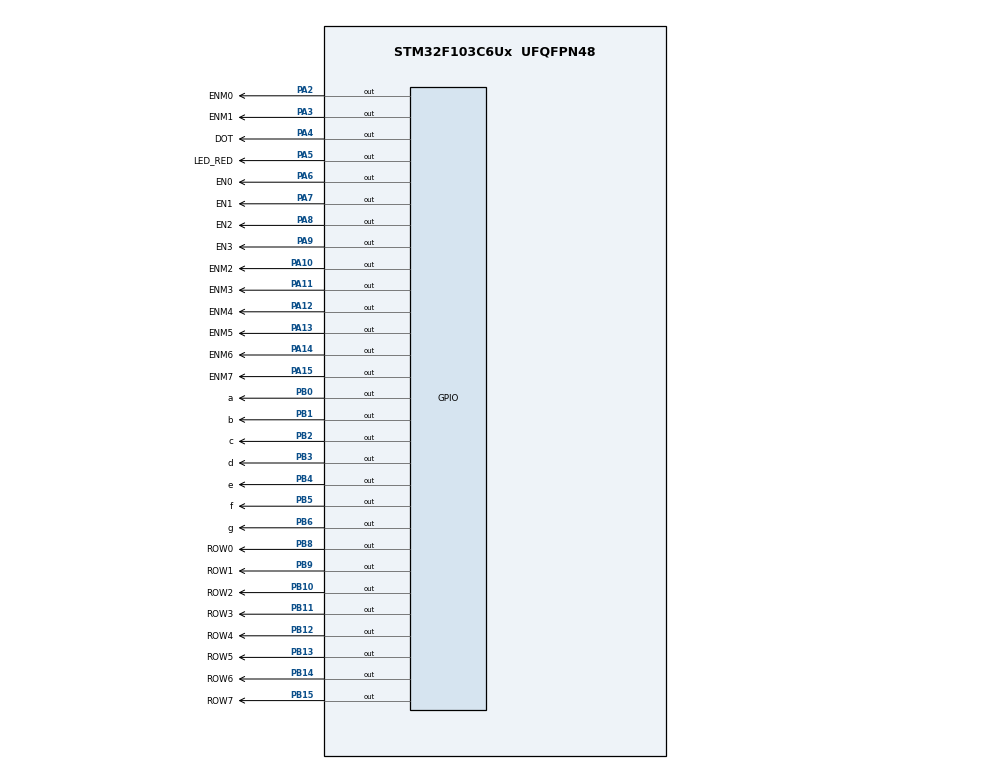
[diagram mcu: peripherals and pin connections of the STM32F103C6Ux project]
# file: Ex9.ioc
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Mcu.Family=STM32F1
Mcu.Name=STM32F103C6Ux
Mcu.Package=UFQFPN48
NVIC.PriorityGroup=NVIC_PRIORITYGROUP_4
NVIC.TIM2_IRQn=true\:0\:0\:false\:false\:true\:true\:true
PA10.GPIO_Label=ENM2
PA10.Signal=GPIO_Output
PA11.GPIO_Label=ENM3
PA11.Signal=GPIO_Output
PA12.GPIO_Label=ENM4
PA12.Signal=GPIO_Output
PA13.GPIO_Label=ENM5
PA13.Signal=GPIO_Output
PA14.GPIO_Label=ENM6
PA14.Signal=GPIO_Output
PA15.GPIO_Label=ENM7
PA15.Signal=GPIO_Output
PA2.GPIO_Label=ENM0
PA2.Signal=GPIO_Output
PA3.GPIO_Label=ENM1
PA3.Signal=GPIO_Output
PA4.GPIO_Label=DOT
PA4.Signal=GPIO_Output
PA5.GPIO_Label=LED_RED
PA5.Signal=GPIO_Output
PA6.GPIO_Label=EN0
PA6.Signal=GPIO_Output
PA7.GPIO_Label=EN1
PA7.Signal=GPIO_Output
PA8.GPIO_Label=EN2
PA8.Signal=GPIO_Output
PA9.GPIO_Label=EN3
PA9.Signal=GPIO_Output
PB0.GPIO_Label=a
PB0.Signal=GPIO_Output
PB1.GPIO_Label=b
PB1.Signal=GPIO_Output
PB10.GPIO_Label=ROW2
PB10.Signal=GPIO_Output
PB11.GPIO_Label=ROW3
PB11.Signal=GPIO_Output
PB12.GPIO_Label=ROW4
PB12.Signal=GPIO_Output
PB13.GPIO_Label=ROW5
PB13.Signal=GPIO_Output
PB14.GPIO_Label=ROW6
PB14.Signal=GPIO_Output
PB15.GPIO_Label=ROW7
PB15.Signal=GPIO_Output
PB2.GPIO_Label=c
PB2.Signal=GPIO_Output
PB3.GPIO_Label=d
PB3.Signal=GPIO_Output
PB4.GPIO_Label=e
PB4.Signal=GPIO_Output
PB5.GPIO_Label=f
PB5.Signal=GPIO_Output
PB6.GPIO_Label=g
PB6.Signal=GPIO_Output
PB8.GPIO_Label=ROW0
PB8.Signal=GPIO_Output
PB9.GPIO_Label=ROW1
PB9.Signal=GPIO_Output
ProjectManager.HeapSize=0x200
ProjectManager.StackSize=0x400
ProjectManager.TargetToolchain=STM32CubeIDE
RCC.APB1Freq_Value=8000000
RCC.APB2Freq_Value=8000000
TIM2.Period=9
TIM2.Prescaler=7999
VP_SYS_VS_ND.Mode=No_Debug
VP_TIM2_VS_ClockSourceINT.Mode=Internal
board=custom

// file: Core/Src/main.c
/* USER CODE BEGIN Header */
/**
  ******************************************************************************
  * @file           : main.c
  * @brief          : Main program body
  ******************************************************************************
  * @attention
  *
  * <h2><center>&copy; Copyright (c) 2026 STMicroelectronics.
  * All rights reserved.</center></h2>
  *
  * This software component is licensed by ST under BSD 3-Clause license,
  * the "License"; You may not use this file except in compliance with the
  * License. You may obtain a copy of the License at:
  *                        opensource.org/licenses/BSD-3-Clause
  *
  ******************************************************************************
  */
/* USER CODE END Header */
#include "main.h"

TIM_HandleTypeDef htim2;

void SystemClock_Config(void);
static void MX_GPIO_Init(void);
static void MX_TIM2_Init(void);

/* USER CODE BEGIN 0 */
int hour = 15, minute = 8, second = 50;
int timer0_counter=0;
int timer1_counter=0;
int timer0_flag=0;
int timer1_flag=0;

int TIME_CYCLE=10;
const int MAX_LED = 4;
int index_led = 0;
int led_buffer[4] = {1, 2, 3, 4};

//Ex9
int timer2_counter = 0;
int timer2_flag = 0;

//Ex10
int timer3_counter = 0;
int timer3_flag = 0;

void display7SEG(int num) {
  	  //array
        static uint8_t seg7[10][7] = {
          // a  b  c  d  e  f  g
            {0, 0, 0, 0, 0, 0, 1}, // 0
            {1, 0, 0, 1, 1, 1, 1}, // 1
            {0, 0, 1, 0, 0, 1, 0}, // 2
            {0, 0, 0, 0, 1, 1, 0}, // 3
            {1, 0, 0, 1, 1, 0, 0}, // 4
            {0, 1, 0, 0, 1, 0, 0}, // 5
            {0, 1, 0, 0, 0, 0, 0}, // 6
            {0, 0, 0, 1, 1, 1, 1}, // 7
            {0, 0, 0, 0, 0, 0, 0}, // 8
            {0, 0, 0, 0, 1, 0, 0}  // 9
        };

        HAL_GPIO_WritePin(GPIOB, a_Pin, seg7[num][0]); // a
        HAL_GPIO_WritePin(GPIOB, b_Pin, seg7[num][1]); // b
        HAL_GPIO_WritePin(GPIOB, c_Pin, seg7[num][2]); // c
        HAL_GPIO_WritePin(GPIOB, d_Pin, seg7[num][3]); // d
        HAL_GPIO_WritePin(GPIOB, e_Pin, seg7[num][4]); // e
        HAL_GPIO_WritePin(GPIOB, f_Pin, seg7[num][5]); // f
        HAL_GPIO_WritePin(GPIOB, g_Pin, seg7[num][6]); // g
    }
void update7SEG (int index) {
    switch (index) {
        case 0:
            HAL_GPIO_WritePin(GPIOA, EN1_Pin|EN2_Pin|EN3_Pin, GPIO_PIN_SET);
            display7SEG(led_buffer[0]);
            HAL_GPIO_WritePin(GPIOA, EN0_Pin, GPIO_PIN_RESET);
            break;
        case 1:
            HAL_GPIO_WritePin(GPIOA, EN0_Pin|EN2_Pin|EN3_Pin, GPIO_PIN_SET);
            display7SEG(led_buffer[1]);
            HAL_GPIO_WritePin(GPIOA, EN1_Pin, GPIO_PIN_RESET);
            break;
        case 2:
            HAL_GPIO_WritePin(GPIOA, EN0_Pin|EN1_Pin|EN3_Pin, GPIO_PIN_SET);
            display7SEG(led_buffer[2]);
            HAL_GPIO_WritePin(GPIOA, EN2_Pin, GPIO_PIN_RESET);
            break;
        case 3:
            HAL_GPIO_WritePin(GPIOA, EN0_Pin|EN1_Pin|EN2_Pin, GPIO_PIN_SET);
            display7SEG(led_buffer[3]);
            HAL_GPIO_WritePin(GPIOA, EN3_Pin, GPIO_PIN_RESET);
            break;
        default:
            break;
    }
}

void setTimer0(int duration) {
    timer0_counter = duration / TIME_CYCLE;
    timer0_flag = 0;
}
void setTimer1(int duration){
	timer1_counter = duration / TIME_CYCLE;
	timer1_flag = 0;
}
void timer_run() {
    if (timer0_counter > 0) {
        timer0_counter--;
        if (timer0_counter == 0) {
            timer0_flag = 1;
        }
    }
    if(timer1_counter > 0){
    	timer1_counter--;
    	if (timer1_counter == 0){
    		timer1_flag=1;
    	}
    }
    if (timer2_counter > 0) {
    	timer2_counter--;
    	if (timer2_counter == 0) timer2_flag = 1;
    }
    if (timer3_counter > 0) {
    	timer3_counter--;
    	if (timer3_counter == 0) timer3_flag = 1;
    }
}

void updateClockBuffer(){
	//hour
	led_buffer[0]=hour/10;
	led_buffer[1]=hour%10;
	//minute
	led_buffer[2]=minute/10;
	led_buffer[3]=minute%10;
}
void setTimer2(int duration) {
    timer2_counter = duration / TIME_CYCLE;
    timer2_flag = 0;
}
const int MAX_LED_MATRIX = 8;
int index_led_matrix = 0;

//Ex9
uint8_t matrix_buffer[8] = {
    0x00, // Col 0
    0x18, // Col 1
    0x24, // Col 2
    0x42, // Col 3
    0x7E, // Col 4
    0x42, // Col 5
    0x42, // Col 6
    0x00  // Col 7
};

void outputMatrixRow(uint8_t data) {
    HAL_GPIO_WritePin(GPIOB, ROW0_Pin, (data >> 0) & 0x01);
    HAL_GPIO_WritePin(GPIOB, ROW1_Pin, (data >> 1) & 0x01);
    HAL_GPIO_WritePin(GPIOB, ROW2_Pin, (data >> 2) & 0x01);
    HAL_GPIO_WritePin(GPIOB, ROW3_Pin, (data >> 3) & 0x01);
    HAL_GPIO_WritePin(GPIOB, ROW4_Pin, (data >> 4) & 0x01);
    HAL_GPIO_WritePin(GPIOB, ROW5_Pin, (data >> 5) & 0x01);
    HAL_GPIO_WritePin(GPIOB, ROW6_Pin, (data >> 6) & 0x01);
    HAL_GPIO_WritePin(GPIOB, ROW7_Pin, (data >> 7) & 0x01);
}

void updateLEDMatrix(int index) {
    HAL_GPIO_WritePin(GPIOA, ENM0_Pin|ENM1_Pin|ENM2_Pin|ENM3_Pin|ENM4_Pin|ENM5_Pin|ENM6_Pin|ENM7_Pin, GPIO_PIN_RESET);
    outputMatrixRow(matrix_buffer[index]);
    switch (index) {
        case 0:
            HAL_GPIO_WritePin(GPIOA, ENM0_Pin, GPIO_PIN_SET);
            break;
        case 1:
            HAL_GPIO_WritePin(GPIOA, ENM1_Pin, GPIO_PIN_SET);
            break;
        case 2:
            HAL_GPIO_WritePin(GPIOA, ENM2_Pin, GPIO_PIN_SET);
            break;
        case 3:
            HAL_GPIO_WritePin(GPIOA, ENM3_Pin, GPIO_PIN_SET);
            break;
        case 4:
            HAL_GPIO_WritePin(GPIOA, ENM4_Pin, GPIO_PIN_SET);
            break;
        case 5:
            HAL_GPIO_WritePin(GPIOA, ENM5_Pin, GPIO_PIN_SET);
            break;
        case 6:
            HAL_GPIO_WritePin(GPIOA, ENM6_Pin, GPIO_PIN_SET);
            break;
        case 7:
            HAL_GPIO_WritePin(GPIOA, ENM7_Pin, GPIO_PIN_SET);
            break;
        default:
            break;
    }
}

//Ex10:
void setTimer3(int duration) {
    timer3_counter = duration / TIME_CYCLE;
    timer3_flag = 0;
}
void shiftDownLEDMatrix() {
    for (int i = 0; i < 8; i++) {
        matrix_buffer[i] = (matrix_buffer[i] << 1) | ((matrix_buffer[i] >> 7) & 0x01);
    }
}

/* USER CODE END 0 */

int main(void)
{

  /* MCU Configuration--------------------------------------------------------*/

  /* Reset of all peripherals, Initializes the Flash interface and the Systick. */
  HAL_Init();

  /* Configure the system clock */
  SystemClock_Config();

  /* Initialize all configured peripherals */
  MX_GPIO_Init();
  MX_TIM2_Init();
  /* USER CODE BEGIN 2 */
  HAL_TIM_Base_Start_IT(&htim2);
  setTimer0 (1000);
  setTimer1 (250);
  setTimer2(10);
  setTimer3(300);

  /* USER CODE END 2 */

  /* Infinite loop */
  while (1)
  {
	  if( timer0_flag == 1){
		  HAL_GPIO_TogglePin(GPIOA, DOT_Pin);
		  second++;
		  if(second>=60){
			  second=0;
			  minute++;
		  }
		  if(minute>=60){
			  minute=0;
			  hour++;
		  }
		  if(hour>=24){
			  hour=0;
		  }
		  updateClockBuffer();
		  setTimer0 (1000) ;
	  }
	  if(timer1_flag == 1){
		  update7SEG(index_led);
		  index_led++;
		  if(index_led >= MAX_LED){
			  index_led = 0;
		  }
		  setTimer1(250);
	  }
	  if(timer2_flag == 1){
		  updateLEDMatrix(index_led_matrix);
		  index_led_matrix++;
		  if(index_led_matrix >= MAX_LED_MATRIX){
			  index_led_matrix = 0;
		  }
		  setTimer2(10);
	  }
	  if(timer3_flag == 1){
		  shiftDownLEDMatrix();
		  setTimer3(250);
	  }

  }
}

void SystemClock_Config(void)
{
  RCC_OscInitTypeDef RCC_OscInitStruct = {0};
  RCC_ClkInitTypeDef RCC_ClkInitStruct = {0};

  /** Initializes the RCC Oscillators according to the specified parameters
  * in the RCC_OscInitTypeDef structure.
  */
  RCC_OscInitStruct.OscillatorType = RCC_OSCILLATORTYPE_HSI;
  RCC_OscInitStruct.HSIState = RCC_HSI_ON;
  RCC_OscInitStruct.HSICalibrationValue = RCC_HSICALIBRATION_DEFAULT;
  RCC_OscInitStruct.PLL.PLLState = RCC_PLL_NONE;
  if (HAL_RCC_OscConfig(&RCC_OscInitStruct) != HAL_OK)
  {
    Error_Handler();
  }
  /** Initializes the CPU, AHB and APB buses clocks
  */
  RCC_ClkInitStruct.ClockType = RCC_CLOCKTYPE_HCLK|RCC_CLOCKTYPE_SYSCLK
                              |RCC_CLOCKTYPE_PCLK1|RCC_CLOCKTYPE_PCLK2;
  RCC_ClkInitStruct.SYSCLKSource = RCC_SYSCLKSOURCE_HSI;
  RCC_ClkInitStruct.AHBCLKDivider = RCC_SYSCLK_DIV1;
  RCC_ClkInitStruct.APB1CLKDivider = RCC_HCLK_DIV1;
  RCC_ClkInitStruct.APB2CLKDivider = RCC_HCLK_DIV1;

  if (HAL_RCC_ClockConfig(&RCC_ClkInitStruct, FLASH_LATENCY_0) != HAL_OK)
  {
    Error_Handler();
  }
}

static void MX_TIM2_Init(void)
{

  TIM_ClockConfigTypeDef sClockSourceConfig = {0};
  TIM_MasterConfigTypeDef sMasterConfig = {0};

  htim2.Instance = TIM2;
  htim2.Init.Prescaler = 7999;
  htim2.Init.CounterMode = TIM_COUNTERMODE_UP;
  htim2.Init.Period = 9;
  htim2.Init.ClockDivision = TIM_CLOCKDIVISION_DIV1;
  htim2.Init.AutoReloadPreload = TIM_AUTORELOAD_PRELOAD_DISABLE;
  if (HAL_TIM_Base_Init(&htim2) != HAL_OK)
  {
    Error_Handler();
  }
  sClockSourceConfig.ClockSource = TIM_CLOCKSOURCE_INTERNAL;
  if (HAL_TIM_ConfigClockSource(&htim2, &sClockSourceConfig) != HAL_OK)
  {
    Error_Handler();
  }
  sMasterConfig.MasterOutputTrigger = TIM_TRGO_RESET;
  sMasterConfig.MasterSlaveMode = TIM_MASTERSLAVEMODE_DISABLE;
  if (HAL_TIMEx_MasterConfigSynchronization(&htim2, &sMasterConfig) != HAL_OK)
  {
    Error_Handler();
  }

}

static void MX_GPIO_Init(void)
{
  GPIO_InitTypeDef GPIO_InitStruct = {0};

  /* GPIO Ports Clock Enable */
  __HAL_RCC_GPIOA_CLK_ENABLE();
  __HAL_RCC_GPIOB_CLK_ENABLE();

  /*Configure GPIO pin Output Level */
  HAL_GPIO_WritePin(GPIOA, ENM0_Pin|ENM1_Pin|DOT_Pin|LED_RED_Pin
                          |EN0_Pin|EN1_Pin|EN2_Pin|EN3_Pin
                          |ENM2_Pin|ENM3_Pin|ENM4_Pin|ENM5_Pin
                          |ENM6_Pin|ENM7_Pin, GPIO_PIN_RESET);

  /*Configure GPIO pin Output Level */
  HAL_GPIO_WritePin(GPIOB, a_Pin|b_Pin|c_Pin|ROW2_Pin
                          |ROW3_Pin|ROW4_Pin|ROW5_Pin|ROW6_Pin
                          |ROW7_Pin|d_Pin|e_Pin|f_Pin
                          |g_Pin|ROW0_Pin|ROW1_Pin, GPIO_PIN_RESET);

  /*Configure GPIO pins : ENM0_Pin ENM1_Pin DOT_Pin LED_RED_Pin
                           EN0_Pin EN1_Pin EN2_Pin EN3_Pin
                           ENM2_Pin ENM3_Pin ENM4_Pin ENM5_Pin
                           ENM6_Pin ENM7_Pin */
  GPIO_InitStruct.Pin = ENM0_Pin|ENM1_Pin|DOT_Pin|LED_RED_Pin
                          |EN0_Pin|EN1_Pin|EN2_Pin|EN3_Pin
                          |ENM2_Pin|ENM3_Pin|ENM4_Pin|ENM5_Pin
                          |ENM6_Pin|ENM7_Pin;
  GPIO_InitStruct.Mode = GPIO_MODE_OUTPUT_PP;
  GPIO_InitStruct.Pull = GPIO_NOPULL;
  GPIO_InitStruct.Speed = GPIO_SPEED_FREQ_LOW;
  HAL_GPIO_Init(GPIOA, &GPIO_InitStruct);

  /*Configure GPIO pins : a_Pin b_Pin c_Pin ROW2_Pin
                           ROW3_Pin ROW4_Pin ROW5_Pin ROW6_Pin
                           ROW7_Pin d_Pin e_Pin f_Pin
                           g_Pin ROW0_Pin ROW1_Pin */
  GPIO_InitStruct.Pin = a_Pin|b_Pin|c_Pin|ROW2_Pin
                          |ROW3_Pin|ROW4_Pin|ROW5_Pin|ROW6_Pin
                          |ROW7_Pin|d_Pin|e_Pin|f_Pin
                          |g_Pin|ROW0_Pin|ROW1_Pin;
  GPIO_InitStruct.Mode = GPIO_MODE_OUTPUT_PP;
  GPIO_InitStruct.Pull = GPIO_NOPULL;
  GPIO_InitStruct.Speed = GPIO_SPEED_FREQ_LOW;
  HAL_GPIO_Init(GPIOB, &GPIO_InitStruct);

}

/* USER CODE BEGIN 4 */
void HAL_TIM_PeriodElapsedCallback(TIM_HandleTypeDef *htim) {
	timer_run();
}
/* USER CODE END 4 */

void Error_Handler(void)
{
  __disable_irq();
  while (1)
  {
  }
}

/************************ (C) COPYRIGHT STMicroelectronics *****END OF FILE****/
